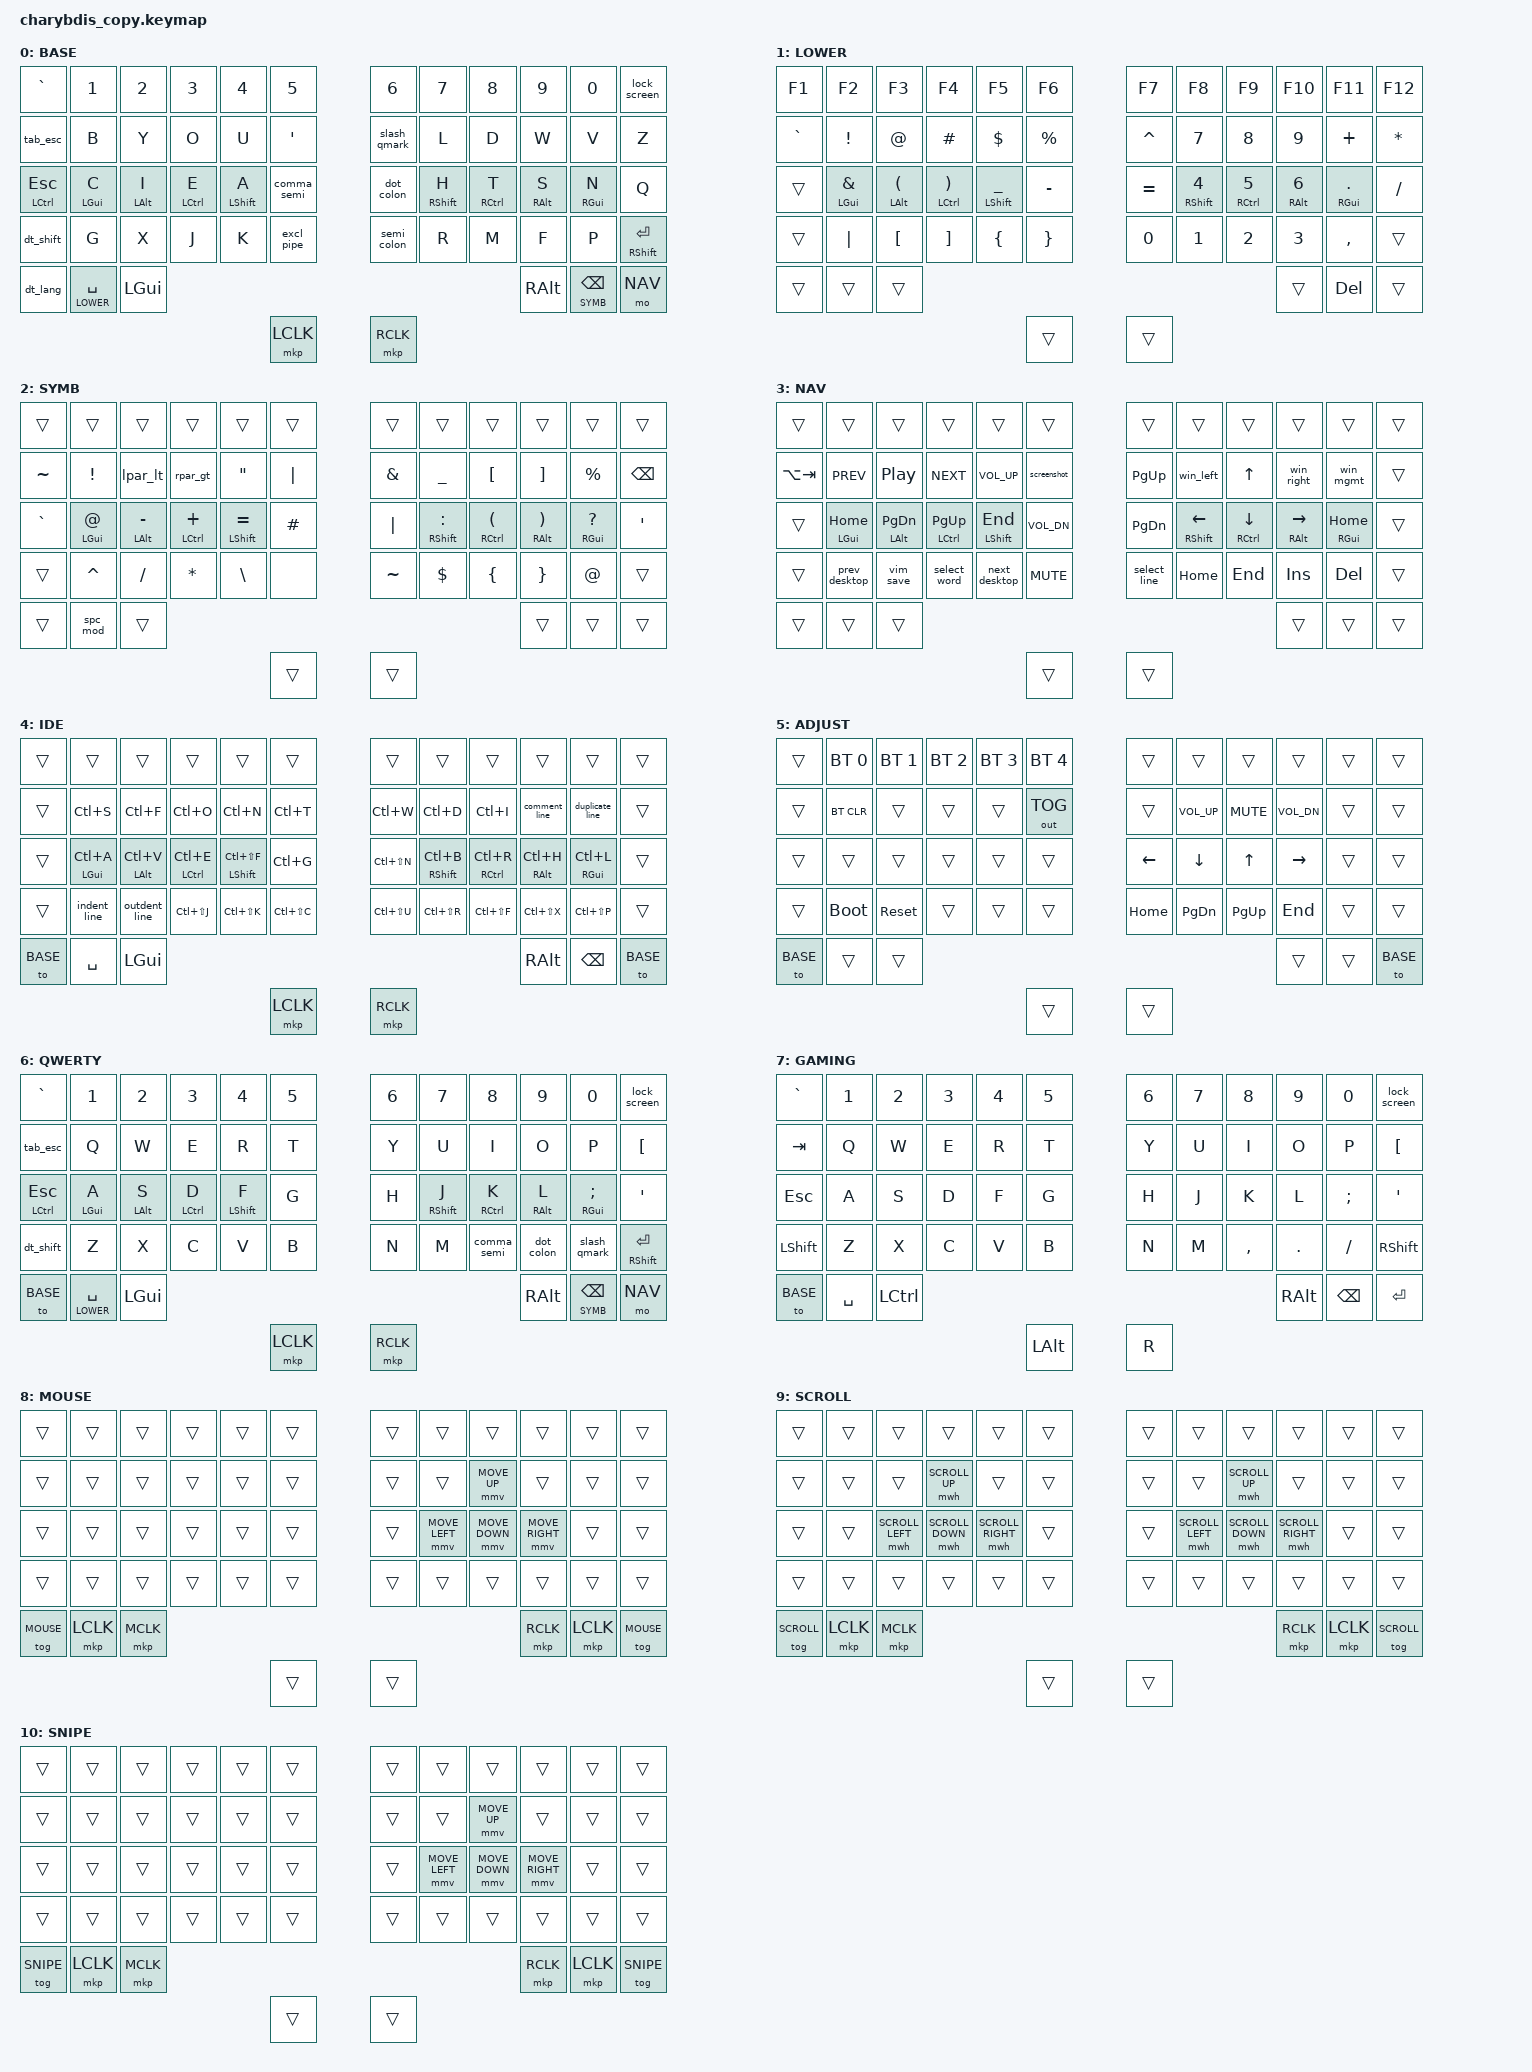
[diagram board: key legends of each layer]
/*
 * Улучшенный ZMK конфиг для Charybdis 4x6
 * С расширенной поддержкой трекбола и оптимизированными слоями
 * Copyright (c) 2023-2024 The ZMK Contributors
 * SPDX-License-Identifier: MIT
 */

#include <behaviors.dtsi>
#include <dt-bindings/zmk/keys.h>
#include <dt-bindings/zmk/bt.h>
#include <dt-bindings/zmk/outputs.h>
#include <dt-bindings/zmk/mouse.h>
#include <dt-bindings/zmk/ext_power.h>

/* Слои клавиатуры */
#define BASE 0      // Основной слой (Colemak-DH)
#define LOWER 1     // Цифры, F-клавиши и математика
#define SYMB 2      // Символы и специальные клавиши
#define NAV 3       // Навигация и мультимедиа
#define IDE 4       // Слой для IDE и программирования
#define ADJUST 5    // Настройки и системные функции
#define QWERTY 6    // QWERTY слой
#define GAMING 7    // Игровой слой
#define MOUSE 8     // Мышиный слой
#define SCROLL 9    // Слой прокрутки
#define SNIPE 10    // Слой точного наведения

/* Конфигурация трекбола */
&trackball_listener {
    compatible = "zmk,input-behavior-listener";
    device = &vtrackball;
    layers = <BASE LOWER SYMB NAV IDE QWERTY GAMING>;
    evt-type = <INPUT_EV_REL>;
    x-input-code = <INPUT_REL_X>;
    y-input-code = <INPUT_REL_Y>;
    scale-multiplier = <1>;
    scale-divisor = <1>;
};

/* Конфигурация точного режима трекбола */
&trackball_snipe_listener {
    compatible = "zmk,input-behavior-listener";
    device = &vtrackball;
    layers = <SNIPE>;
    evt-type = <INPUT_EV_REL>;
    x-input-code = <INPUT_REL_X>;
    y-input-code = <INPUT_REL_Y>;
    scale-multiplier = <1>;
    scale-divisor = <4>; // Снижение скорости для точного наведения
};

/* Конфигурация прокрутки трекболом */
&trackball_scroll_listener {
    compatible = "zmk,input-behavior-listener";
    device = &vtrackball;
    layers = <SCROLL>;
    evt-type = <INPUT_EV_REL>;
    x-input-code = <INPUT_REL_MISC>;
    y-input-code = <INPUT_REL_WHEEL>;
    y-invert;
    bindings = <&ib_wheel_scaler 1 14>;
};

/* Масштабирование скорости прокрутки */
&ib_wheel_scaler {
    compatible = "zmk,input-behavior-scaler";
    #binding-cells = <2>;
    evt-type = <INPUT_EV_REL>;
    input-code = <INPUT_REL_WHEEL>;
};

/* Переключение слоя трекбола с автоматическим отключением */
&ib_toggle_layer {
    compatible = "zmk,input-behavior-tog-layer";
    #binding-cells = <1>;
    time-to-live-ms = <750>; // Автоматически отключает слой через 750мс
};

/* Оптимизированные глобальные настройки */
&lt {
    tapping-term-ms = <200>; // Повышенное значение для удобства
    quick-tap-ms = <150>; // Оптимизировано для быстрого двойного нажатия
    flavor = "balanced";
    retro-tap; // Позволяет активировать удерживаемую клавишу при отпускании
};

&mt {
    tapping-term-ms = <200>;
    quick-tap-ms = <150>;
    flavor = "balanced";
    retro-tap;
};

&sk {
    release-after-ms = <1800>; // Увеличенное время для удобства использования
    quick-release;
};

&caps_word {
    continue-list = <UNDERSCORE MINUS BACKSPACE DELETE>;
};

/ {
    combos {
        compatible = "zmk,combos";
        
        /* Комбо для активации режима прокрутки */
        combo_scroll_mode {
            timeout-ms = <50>;
            key-positions = <41 42>; // Нижние кнопки правой стороны
            bindings = <&tog SCROLL>;
            layers = <BASE LOWER SYMB NAV IDE>;
        };
        
        /* Комбо для активации точного режима */
        combo_snipe_mode {
            timeout-ms = <50>;
            key-positions = <42 43>; // Нижние кнопки правой стороны
            bindings = <&mo SNIPE>;
            layers = <BASE LOWER SYMB NAV IDE>;
        };
        
        /* Быстрое переключение между режимами */
        combo_reset_mouse_modes {
            timeout-ms = <50>;
            key-positions = <40 43>; // Крайние нижние кнопки
            bindings = <&to BASE>;
            layers = <SCROLL SNIPE MOUSE>;
        };
        
        /* Основные комбо */
        combo_esc {
            timeout-ms = <40>;
            key-positions = <13 14>;
            bindings = <&kp ESC>;
            layers = <BASE QWERTY>;
        };
        
        combo_tab {
            timeout-ms = <40>;
            key-positions = <25 26>;
            bindings = <&kp TAB>;
            layers = <BASE QWERTY>;
        };
        
        combo_enter {
            timeout-ms = <40>;
            key-positions = <33 34>;
            bindings = <&kp ENTER>;
            layers = <BASE QWERTY>;
        };
        
        combo_del {
            timeout-ms = <40>;
            key-positions = <21 22>;
            bindings = <&kp DEL>;
            layers = <BASE QWERTY>;
        };
        
        /* Скобки */
        combo_lpar {
            timeout-ms = <40>;
            key-positions = <15 16>;
            bindings = <&kp LPAR>;
            layers = <BASE QWERTY>;
        };
        
        combo_rpar {
            timeout-ms = <40>;
            key-positions = <19 20>;
            bindings = <&kp RPAR>;
            layers = <BASE QWERTY>;
        };
        
        combo_lbkt {
            timeout-ms = <40>;
            key-positions = <3 4>;
            bindings = <&kp LBKT>;
            layers = <BASE QWERTY>;
        };
        
        combo_rbkt {
            timeout-ms = <40>;
            key-positions = <7 8>;
            bindings = <&kp RBKT>;
            layers = <BASE QWERTY>;
        };
        
        combo_lbrc {
            timeout-ms = <40>;
            key-positions = <27 28>;
            bindings = <&kp LBRC>;
            layers = <BASE QWERTY>;
        };
        
        combo_rbrc {
            timeout-ms = <40>;
            key-positions = <31 32>;
            bindings = <&kp RBRC>;
            layers = <BASE QWERTY>;
        };
        
        /* Специальные функции */
        combo_caps_word {
            timeout-ms = <40>;
            key-positions = <16 19>;
            bindings = <&caps_word>;
            layers = <BASE QWERTY>;
        };
        
        /* Редактирование */
        combo_cut {
            timeout-ms = <40>;
            key-positions = <26 27>;
            bindings = <&kp LC(X)>;
            layers = <BASE QWERTY>;
        };
        
        combo_copy {
            timeout-ms = <40>;
            key-positions = <27 28>;
            bindings = <&kp LC(C)>;
            layers = <BASE QWERTY>;
        };
        
        combo_paste {
            timeout-ms = <40>;
            key-positions = <28 29>;
            bindings = <&kp LC(V)>;
            layers = <BASE QWERTY>;
        };
        
        combo_undo {
            timeout-ms = <40>;
            key-positions = <25 27>;
            bindings = <&kp LC(Z)>;
            layers = <BASE QWERTY>;
        };
        
        combo_redo {
            timeout-ms = <40>;
            key-positions = <25 28>;
            bindings = <&kp LC(LS(Z))>;
            layers = <BASE QWERTY>;
        };
        
        /* Специальные слои */
        combo_mouse {
            timeout-ms = <50>;
            key-positions = <40 41>;
            bindings = <&tb_mode>;
            layers = <BASE>;
        };
        
        /* IDE функции */
        combo_ide {
            timeout-ms = <40>;
            key-positions = <14 15>;
            bindings = <&dt_ide>;
            layers = <BASE>;
        };
        
        combo_comment {
            timeout-ms = <40>;
            key-positions = <2 3>;
            bindings = <&comment_line>;
            layers = <BASE QWERTY IDE>;
        };
        
        combo_duplicate {
            timeout-ms = <40>;
            key-positions = <28 30>;
            bindings = <&duplicate_line>;
            layers = <BASE QWERTY IDE>;
        };
        
        /* Частые символы программирования */
        combo_arrow {
            timeout-ms = <40>;
            key-positions = <20 21>;
            bindings = <&arrow_macro>;
            layers = <BASE QWERTY>;
        };
        
        combo_fat_arrow {
            timeout-ms = <40>;
            key-positions = <32 33>;
            bindings = <&fat_arrow_macro>;
            layers = <BASE QWERTY>;
        };
        
        combo_triple_equals {
            timeout-ms = <40>;
            key-positions = <9 10>;
            bindings = <&triple_equals>;
            layers = <BASE QWERTY>;
        };
        
        combo_not_equals {
            timeout-ms = <40>;
            key-positions = <8 9>;
            bindings = <&not_equals>;
            layers = <BASE QWERTY>;
        };

        
        /* Специальные функции */
        combo_select_all {
            timeout-ms = <40>;
            key-positions = <1 2>;
            bindings = <&select_all>;
            layers = <BASE QWERTY>;
        };
        
        combo_select_line {
            timeout-ms = <40>;
            key-positions = <25 26 27>;
            bindings = <&select_line>;
            layers = <BASE QWERTY>;
        };
    };
    
    /* Условные слои */
    conditional_layers {
        compatible = "zmk,conditional-layers";
        tri_layer {
            if-layers = <LOWER SYMB>;
            then-layer = <ADJUST>;
        };
    };

    behaviors {
        /* Tap Dance для переключения режимов трекбола */
        tb_mode: trackball_mode {
            compatible = "zmk,behavior-tap-dance";
            #binding-cells = <0>;
            tapping-term-ms = <250>;
            bindings = <&tog MOUSE>, <&tog SCROLL>, <&tog SNIPE>;
        };

        /* Улучшенные home row mods с контекстно-зависимыми модификаторами */
        hml: homerow_mods_left {
            compatible = "zmk,behavior-hold-tap";
            #binding-cells = <2>;
            tapping-term-ms = <280>;
            quick-tap-ms = <175>;
            flavor = "balanced";
            bindings = <&kp>, <&kp>;
            hold-trigger-key-positions = <6 7 8 9 10 11 18 19 20 21 22 23 30 31 32 33 34 35 39 40 41 42 43>;
            hold-trigger-on-release;
            global-quick-tap; // Позволяет быстро набирать текст
        };

        hmr: homerow_mods_right {
            compatible = "zmk,behavior-hold-tap";
            #binding-cells = <2>;
            tapping-term-ms = <280>;
            quick-tap-ms = <175>;
            flavor = "balanced";
            bindings = <&kp>, <&kp>;
            hold-trigger-key-positions = <0 1 2 3 4 5 12 13 14 15 16 17 24 25 26 27 28 29 36 37 38>;
            hold-trigger-on-release;
            global-quick-tap;
        };
        
        /* Улучшенный Ctrl/Esc */
        mt_lctl_esc: mod_tap_ctrl_esc {
            compatible = "zmk,behavior-hold-tap";
            #binding-cells = <2>;
            tapping-term-ms = <200>;
            quick-tap-ms = <150>;
            flavor = "balanced";
            bindings = <&kp>, <&kp>;
            retro-tap;
        };

        /* Улучшенный Shift/Enter */
        mt_rsft_ent: mod_tap_shift_enter {
            compatible = "zmk,behavior-hold-tap";
            #binding-cells = <2>;
            tapping-term-ms = <200>;
            quick-tap-ms = <150>;
            flavor = "balanced";
            bindings = <&kp>, <&kp>;
            retro-tap;
        };

        /* Улучшенный Sticky Shift */
        ss: sticky_shift {
            compatible = "zmk,behavior-sticky-key";
            #binding-cells = <1>;
            bindings = <&kp>;
            release-after-ms = <1500>;
            quick-release;
            ignore-modifiers; // Игнорирует уже нажатые модификаторы
        };
        
        /* Интеллектуальный слой/клавиша */
        smart_layer: smart_layer {
            compatible = "zmk,behavior-hold-tap";
            #binding-cells = <2>;
            tapping-term-ms = <200>;
            quick-tap-ms = <150>;
            flavor = "balanced";
            bindings = <&mo>, <&kp>;
            retro-tap;
        };

        /* Интеллектуальный переключатель слоев */
        smart_to: smart_to_layer {
            compatible = "zmk,behavior-hold-tap";
            #binding-cells = <2>;
            tapping-term-ms = <200>;
            quick-tap-ms = <125>;
            flavor = "balanced";
            bindings = <&to>, <&to>;
        };

        /* Tap Dance для множественных функций */
        dt_lang: tap_dance_language {
            compatible = "zmk,behavior-tap-dance";
            #binding-cells = <0>;
            tapping-term-ms = <300>; // Увеличенное время для удобства использования
            bindings = <&lang_switch>, <&to QWERTY>, <&to GAMING>;
        };
        
        dt_shift: tap_dance_shift {
            compatible = "zmk,behavior-tap-dance";
            #binding-cells = <0>;
            tapping-term-ms = <250>; // Увеличенное время для удобства использования
            bindings = <&ss LSHFT>, <&caps_word>, <&kp CAPS>;
        };

        /* Быстрый доступ к IDE функциям */
        dt_ide: tap_dance_ide {
            compatible = "zmk,behavior-tap-dance";
            #binding-cells = <0>;
            tapping-term-ms = <250>;
            bindings = <&mo IDE>, <&tog IDE>;
        };

        /* Mod morphs для символов */
        comma_semi: comma_semicolon {
            compatible = "zmk,behavior-mod-morph";
            #binding-cells = <0>;
            bindings = <&kp COMMA>, <&kp SEMICOLON>;
            mods = <(MOD_LSFT|MOD_RSFT)>;
        };

        dot_colon: dot_colon {
            compatible = "zmk,behavior-mod-morph";
            #binding-cells = <0>;
            bindings = <&kp DOT>, <&kp COLON>;
            mods = <(MOD_LSFT|MOD_RSFT)>;
        };
        
        slash_qmark: slash_question {
            compatible = "zmk,behavior-mod-morph";
            #binding-cells = <0>;
            bindings = <&kp FSLH>, <&kp QMARK>;
            mods = <(MOD_LSFT|MOD_RSFT)>;
        };
        
        excl_pipe: exclamation_pipe {
            compatible = "zmk,behavior-mod-morph";
            #binding-cells = <0>;
            bindings = <&kp EXCL>, <&kp PIPE>;
            mods = <(MOD_LSFT|MOD_RSFT)>;
        };

        /* Mod morph для точки с запятой и двоеточия */
        semi_colon: semicolon_colon {
            compatible = "zmk,behavior-mod-morph";
            #binding-cells = <0>;
            bindings = <&kp SEMI>, <&kp COLON>;
            mods = <(MOD_LSFT|MOD_RSFT)>;
        };

        /* Mod morph для скобок */
        lpar_lt: left_paren_lt {
            compatible = "zmk,behavior-mod-morph";
            #binding-cells = <0>;
            bindings = <&kp LPAR>, <&kp LT>;
            mods = <(MOD_LALT|MOD_RALT)>;
        };

        rpar_gt: right_paren_gt {
            compatible = "zmk,behavior-mod-morph";
            #binding-cells = <0>;
            bindings = <&kp RPAR>, <&kp GT>;
            mods = <(MOD_LALT|MOD_RALT)>;
        };

        /* Адаптивное табулирование */
        tab_esc: tab_escape {
            compatible = "zmk,behavior-mod-morph";
            #binding-cells = <0>;
            bindings = <&kp TAB>, <&kp ESC>;
            mods = <(MOD_LCTL|MOD_RCTL)>;
        };

        /* Автоматический выход из редактирования */
        vim_exit: vim_exit_macro {
            compatible = "zmk,behavior-mod-morph";
            #binding-cells = <0>;
            bindings = <&vim_save>, <&vim_exit_insert>;
            mods = <(MOD_LSFT|MOD_RSFT)>;
        };

        /* Улучшенная работа с окнами */
        win_mgmt: window_management {
            compatible = "zmk,behavior-tap-dance";
            #binding-cells = <0>;
            tapping-term-ms = <250>;
            bindings = <&win_max>, <&win_full>, <&win_reset>;
        };
        
        /* Интеллектуальное переключение раскладки */
        smart_lang: smart_language {
            compatible = "zmk,behavior-tap-dance";
            #binding-cells = <0>;
            tapping-term-ms = <300>;
            bindings = <&lang_switch>, <&none>, <&to BASE>;
        };
        
        /* Контекстно-зависимое пространство */
        spc_mod: space_modifier {
            compatible = "zmk,behavior-mod-morph";
            #binding-cells = <0>;
            bindings = <&kp SPACE>, <&kp UNDER>;
            mods = <(MOD_LSFT|MOD_RSFT)>;
        };
        
        /* Быстрая смена между программными слоями */
        dev_cycle: developer_cycle {
            compatible = "zmk,behavior-tap-dance";
            #binding-cells = <0>;
            tapping-term-ms = <250>;
            bindings = <&mo IDE>, <&to IDE>, <&to BASE>;
        };
    };



    /* Макросы для различных функций */
    macros {
        /* Переключение языка */
        lang_switch: lang_switch {
            compatible = "zmk,behavior-macro";
            #binding-cells = <0>;
            wait-ms = <0>;
            tap-ms = <5>;
            bindings = <&macro_press &kp LGUI>,
                    <&macro_tap &kp SPACE>,
                    <&macro_release &kp LGUI>;
        };


        /* Блокировка экрана macOS/Windows */
        lock_screen: lock_screen {
            compatible = "zmk,behavior-macro";
            #binding-cells = <0>;
            wait-ms = <0>;
            tap-ms = <5>;
            bindings = <&macro_press &kp LGUI &kp LCTRL>,
                       <&macro_tap &kp Q>,
                       <&macro_release &kp LGUI &kp LCTRL>;
        };

        /* Навигация по рабочим столам */
        next_desktop: next_desktop {
            compatible = "zmk,behavior-macro";
            #binding-cells = <0>;
            wait-ms = <0>;
            tap-ms = <5>;
            bindings = <&macro_press &kp LCTRL>,
                       <&macro_tap &kp RIGHT>,
                       <&macro_release &kp LCTRL>;
        };

        prev_desktop: prev_desktop {
            compatible = "zmk,behavior-macro";
            #binding-cells = <0>;
            wait-ms = <0>;
            tap-ms = <5>;
            bindings = <&macro_press &kp LCTRL>,
                       <&macro_tap &kp LEFT>,
                       <&macro_release &kp LCTRL>;
        };

        /* Улучшенный оконный менеджмент */
        win_max: window_maximize {
            compatible = "zmk,behavior-macro";
            #binding-cells = <0>;
            wait-ms = <0>;
            tap-ms = <5>;
            bindings = <&macro_press &kp LGUI>,
                       <&macro_tap &kp UP>,
                       <&macro_release &kp LGUI>;
        };

        win_full: window_fullscreen {
            compatible = "zmk,behavior-macro";
            #binding-cells = <0>;
            wait-ms = <0>;
            tap-ms = <5>;
            bindings = <&macro_press &kp LCTRL &kp LGUI>,
                       <&macro_tap &kp F>,
                       <&macro_release &kp LCTRL &kp LGUI>;
        };

        win_reset: window_reset {
            compatible = "zmk,behavior-macro";
            #binding-cells = <0>;
            wait-ms = <0>;
            tap-ms = <5>;
            bindings = <&macro_press &kp LGUI>,
                       <&macro_tap &kp DOWN>,
                       <&macro_release &kp LGUI>;
        };

        win_left: window_left {
            compatible = "zmk,behavior-macro";
            #binding-cells = <0>;
            wait-ms = <0>;
            tap-ms = <5>;
            bindings = <&macro_press &kp LGUI>,
                       <&macro_tap &kp LEFT>,
                       <&macro_release &kp LGUI>;
        };

        win_right: window_right {
            compatible = "zmk,behavior-macro";
            #binding-cells = <0>;
            wait-ms = <0>;
            tap-ms = <5>;
            bindings = <&macro_press &kp LGUI>,
                       <&macro_tap &kp RIGHT>,
                       <&macro_release &kp LGUI>;
        };

        /* Улучшенные скриншоты */
        screenshot: screenshot {
            compatible = "zmk,behavior-macro";
            #binding-cells = <0>;
            wait-ms = <0>;
            tap-ms = <5>;
            bindings = <&macro_press &kp LGUI &kp LSHFT>,
                       <&macro_tap &kp S>,
                       <&macro_release &kp LGUI &kp LSHFT>;
        };

        screenshot_full: screenshot_full {
            compatible = "zmk,behavior-macro";
            #binding-cells = <0>;
            wait-ms = <0>;
            tap-ms = <5>;
            bindings = <&macro_press &kp LGUI &kp LSHFT>,
                       <&macro_tap &kp N3>,
                       <&macro_release &kp LGUI &kp LSHFT>;
        };

        /* Улучшенные действия выделения */
        select_word: select_word {
            compatible = "zmk,behavior-macro";
            #binding-cells = <0>;
            wait-ms = <0>;
            tap-ms = <5>;
            bindings = <&macro_press &kp LCTRL>,
                       <&macro_tap &kp RIGHT>,
                       <&macro_press &kp LSHFT>,
                       <&macro_tap &kp LEFT>,
                       <&macro_release &kp LCTRL &kp LSHFT>;
        };
        
        select_line: select_line {
            compatible = "zmk,behavior-macro";
            #binding-cells = <0>;
            wait-ms = <0>;
            tap-ms = <5>;
            bindings = <&macro_tap &kp HOME>,
                       <&macro_press &kp LSHFT>,
                       <&macro_tap &kp END>,
                       <&macro_release &kp LSHFT>;
        };

        select_all: select_all {
            compatible = "zmk,behavior-macro";
            #binding-cells = <0>;
            wait-ms = <0>;
            tap-ms = <5>;
            bindings = <&macro_press &kp LCTRL>,
                       <&macro_tap &kp A>,
                       <&macro_release &kp LCTRL>;
        };

        /* Расширенные символы программирования */
        arrow_macro: arrow_macro {
            compatible = "zmk,behavior-macro";
            #binding-cells = <0>;
            wait-ms = <0>;
            tap-ms = <5>;
            bindings = <&macro_tap &kp MINUS &kp GT>;
        };
        
        fat_arrow_macro: fat_arrow_macro {
            compatible = "zmk,behavior-macro";
            #binding-cells = <0>;
            wait-ms = <0>;
            tap-ms = <5>;
            bindings = <&macro_tap &kp EQUAL &kp GT>;
        };

        triple_equals: triple_equals {
            compatible = "zmk,behavior-macro";
            #binding-cells = <0>;
            wait-ms = <0>;
            tap-ms = <5>;
            bindings = <&macro_tap &kp EQUAL &kp EQUAL &kp EQUAL>;
        };

        not_equals: not_equals {
            compatible = "zmk,behavior-macro";
            #binding-cells = <0>;
            wait-ms = <0>;
            tap-ms = <5>;
            bindings = <&macro_tap &kp EXCL &kp EQUAL>;
        };

        not_equals_strict: not_equals_strict {
            compatible = "zmk,behavior-macro";
            #binding-cells = <0>;
            wait-ms = <0>;
            tap-ms = <5>;
            bindings = <&macro_tap &kp EXCL &kp EQUAL &kp EQUAL>;
        };
        
        /* Vim команды */
        vim_save: vim_save {
            compatible = "zmk,behavior-macro";
            #binding-cells = <0>;
            wait-ms = <0>;
            tap-ms = <5>;
            bindings = <&macro_tap &kp ESC>,
                       <&macro_tap &kp COLON>,
                       <&macro_tap &kp W>,
                       <&macro_tap &kp ENTER>;
        };

        vim_exit_insert: vim_exit_insert {
            compatible = "zmk,behavior-macro";
            #binding-cells = <0>;
            wait-ms = <0>;
            tap-ms = <5>;
            bindings = <&macro_tap &kp ESC>;
        };

        vim_save_quit: vim_save_quit {
            compatible = "zmk,behavior-macro";
            #binding-cells = <0>;
            wait-ms = <0>;
            tap-ms = <5>;
            bindings = <&macro_tap &kp ESC>,
                       <&macro_tap &kp COLON>,
                       <&macro_tap &kp W>,
                       <&macro_tap &kp Q>,
                       <&macro_tap &kp ENTER>;
        };

        /* Действия копирования/вставки */
        copy_line: copy_line {
            compatible = "zmk,behavior-macro";
            #binding-cells = <0>;
            wait-ms = <0>;
            tap-ms = <5>;
            bindings = <&macro_tap &kp HOME>,
                       <&macro_press &kp LSHFT>,
                       <&macro_tap &kp END>,
                       <&macro_release &kp LSHFT>,
                       <&macro_press &kp LCTRL>,
                       <&macro_tap &kp C>,
                       <&macro_release &kp LCTRL>;
        };

        duplicate_line: duplicate_line {
            compatible = "zmk,behavior-macro";
            #binding-cells = <0>;
            wait-ms = <0>;
            tap-ms = <5>;
            bindings = <&macro_tap &kp HOME>,
                       <&macro_press &kp LSHFT>,
                       <&macro_tap &kp END>,
                       <&macro_release &kp LSHFT>,
                       <&macro_press &kp LCTRL>,
                       <&macro_tap &kp C>,
                       <&macro_release &kp LCTRL>,
                       <&macro_tap &kp END>,
                       <&macro_tap &kp ENTER>,
                       <&macro_press &kp LCTRL>,
                       <&macro_tap &kp V>,
                       <&macro_release &kp LCTRL>;
        };

        /* Программирование */
        comment_line: comment_line {
            compatible = "zmk,behavior-macro";
            #binding-cells = <0>;
            wait-ms = <0>;
            tap-ms = <5>;
            bindings = <&macro_press &kp LCTRL>,
                       <&macro_tap &kp FSLH>,
                       <&macro_release &kp LCTRL>;
        };

        indent_line: indent_line {
            compatible = "zmk,behavior-macro";
            #binding-cells = <0>;
            wait-ms = <0>;
            tap-ms = <5>;
            bindings = <&macro_tap &kp TAB>;
        };

        outdent_line: outdent_line {
            compatible = "zmk,behavior-macro";
            #binding-cells = <0>;
            wait-ms = <0>;
            tap-ms = <5>;
            bindings = <&macro_press &kp LSHFT>,
                       <&macro_tap &kp TAB>,
                       <&macro_release &kp LSHFT>;
        };
    };

    /* Раскладки для разных слоев */
    keymap {
        compatible = "zmk,keymap";

        /* Основной слой (Colemak-DH) */
        BASE {
            bindings = <
&kp GRAVE              &kp N1                 &kp N2                 &kp N3                 &kp N4                 &kp N5                                                             &kp N6                 &kp N7                 &kp N8                 &kp N9                 &kp N0                 &lock_screen
&tab_esc               &kp B                  &kp Y                  &kp O                  &kp U                  &kp SQT                                                            &slash_qmark           &kp L                  &kp D                  &kp W                  &kp V                  &kp Z
&mt_lctl_esc LCTRL ESC &hml LGUI C            &hml LALT I            &hml LCTRL E           &hml LSHFT A           &comma_semi                                                        &dot_colon             &hmr RSHFT H           &hmr RCTRL T           &hmr RALT S            &hmr RGUI N            &kp Q
&dt_shift              &kp G                  &kp X                  &kp J                  &kp K                  &excl_pipe                                                         &semi_colon            &kp R                  &kp M                  &kp F                  &kp P                  &mt_rsft_ent RSHFT ENTER
                                                                     &dt_lang               &smart_layer LOWER SPACE &kp LGUI                                                         &kp RALT               &smart_layer SYMB BSPC &mo NAV
                                                                                            &mkp LCLK              &mkp RCLK
            >;
        };

        /* Цифры, F-клавиши и математика */
        LOWER {
            bindings = <
&kp F1             &kp F2             &kp F3             &kp F4             &kp F5             &kp F6                                                     &kp F7             &kp F8             &kp F9             &kp F10            &kp F11              &kp F12
&kp GRAVE          &kp EXCL           &kp AT             &kp HASH           &kp DLLR           &kp PRCNT                                                  &kp CARET          &kp N7             &kp N8             &kp N9             &kp PLUS             &kp STAR
&trans             &hml LGUI AMPS     &hml LALT LPAR     &hml LCTRL RPAR    &hml LSHFT UNDER   &kp MINUS                                                  &kp EQUAL          &hmr RSHFT N4      &hmr RCTRL N5      &hmr RALT N6       &hmr RGUI DOT        &kp FSLH
&trans             &kp PIPE           &kp LBKT           &kp RBKT           &kp LBRC           &kp RBRC                                                   &kp N0             &kp N1             &kp N2             &kp N3             &kp COMMA            &trans
                                                         &trans             &trans             &trans                                                     &trans             &kp DEL            &trans
                                                                            &trans             &trans
            >;
        };

        /* Символы и специальные клавиши */
        SYMB {
            bindings = <
&trans             &trans             &trans             &trans             &trans             &trans                                                     &trans             &trans             &trans             &trans             &trans               &trans
&kp TILDE          &kp EXCL           &lpar_lt           &rpar_gt           &kp DQT            &kp PIPE                                                   &kp AMPS           &kp UNDER          &kp LBKT           &kp RBKT           &kp PRCNT            &kp BSPC
&kp GRAVE          &hml LGUI AT       &hml LALT MINUS    &hml LCTRL PLUS    &hml LSHFT EQUAL   &kp HASH                                                   &kp PIPE           &hmr RSHFT COLON   &hmr RCTRL LPAR    &hmr RALT RPAR     &hmr RGUI QMARK      &kp SQT
&trans             &kp CARET          &kp FSLH           &kp STAR           &kp BSLH           &none                                                      &kp TILDE          &kp DLLR           &kp LBRC           &kp RBRC           &kp AT               &trans
                                                         &trans             &spc_mod           &trans                                                     &trans             &trans             &trans
                                                                            &trans             &trans
            >;
        };

        /* Навигация, мультимедиа и системные функции */
        NAV {
            bindings = <
&trans             &trans             &trans             &trans             &trans             &trans                                                     &trans             &trans             &trans             &trans             &trans               &trans
&kp LA(TAB)        &kp C_PREV         &kp C_PP           &kp C_NEXT         &kp C_VOL_UP       &screenshot                                                &kp PG_UP          &win_left          &kp UP             &win_right         &win_mgmt            &trans
&trans             &hml LGUI HOME     &hml LALT PG_DN    &hml LCTRL PG_UP   &hml LSHFT END     &kp C_VOL_DN                                               &kp PG_DN          &hmr RSHFT LEFT    &hmr RCTRL DOWN    &hmr RALT RIGHT    &hmr RGUI HOME       &trans
&trans             &prev_desktop      &vim_save          &select_word       &next_desktop      &kp C_MUTE                                                 &select_line       &kp HOME           &kp END            &kp INS            &kp DEL              &trans
                                                         &trans             &trans             &trans                                                     &trans             &trans             &trans
                                                                            &trans             &trans
            >;
        };

        /* Слой для IDE и программирования */
        IDE {
            bindings = <
&trans             &trans             &trans             &trans             &trans             &trans                                                     &trans             &trans             &trans             &trans             &trans               &trans
&trans             &kp LC(S)          &kp LC(F)          &kp LC(O)          &kp LC(N)          &kp LC(T)                                                  &kp LC(W)          &kp LC(D)          &kp LC(I)          &comment_line      &duplicate_line      &trans
&trans             &hml LGUI LC(A)    &hml LALT LC(V)    &hml LCTRL LC(E)   &hml LSHFT LC(LS(F)) &kp LC(G)                                                &kp LC(LS(N))      &hmr RSHFT LC(B)   &hmr RCTRL LC(R)   &hmr RALT LC(H)    &hmr RGUI LC(L)      &trans
&trans             &indent_line       &outdent_line      &kp LC(LS(J))      &kp LC(LS(K))      &kp LC(LS(C))                                              &kp LC(LS(U))      &kp LC(LS(R))      &kp LC(LS(F))      &kp LC(LS(X))      &kp LC(LS(P))        &trans
                                                         &to BASE           &kp SPACE          &kp LGUI                                                   &kp RALT           &kp BSPC           &to BASE
                                                                            &mkp LCLK          &mkp RCLK
            >;
        };

        /* Настройки, Bluetooth и отладка */
        ADJUST {
            bindings = <
&trans             &bt BT_SEL 0       &bt BT_SEL 1       &bt BT_SEL 2       &bt BT_SEL 3       &bt BT_SEL 4                                               &trans             &trans             &trans             &trans             &trans               &trans
&trans             &bt BT_CLR         &trans             &trans             &trans             &out OUT_TOG                                               &trans             &kp C_VOL_UP       &kp C_MUTE         &kp C_VOL_DN       &trans               &trans
&trans             &trans             &trans             &trans             &trans             &trans                                                     &kp LEFT           &kp DOWN           &kp UP             &kp RIGHT          &trans               &trans
&trans             &bootloader        &sys_reset         &trans             &trans             &trans                                                     &kp HOME           &kp PG_DN          &kp PG_UP          &kp END            &trans               &trans
                                                         &to BASE           &trans             &trans                                                     &trans             &trans             &to BASE
                                                                            &trans             &trans
            >;
        };

        /* QWERTY слой */
        QWERTY {
            bindings = <
&kp GRAVE          &kp N1             &kp N2             &kp N3             &kp N4             &kp N5                                                     &kp N6             &kp N7             &kp N8             &kp N9             &kp N0               &lock_screen
&tab_esc           &kp Q              &kp W              &kp E              &kp R              &kp T                                                      &kp Y              &kp U              &kp I              &kp O              &kp P                &kp LBKT
&mt_lctl_esc LCTRL ESC  &hml LGUI A   &hml LALT S        &hml LCTRL D       &hml LSHFT F       &kp G                                                      &kp H              &hmr RSHFT J       &hmr RCTRL K       &hmr RALT L        &hmr RGUI SEMI       &kp SQT
&dt_shift          &kp Z              &kp X              &kp C              &kp V              &kp B                                                      &kp N              &kp M              &comma_semi        &dot_colon         &slash_qmark         &mt_rsft_ent RSHFT ENTER
                                                         &to BASE           &smart_layer LOWER SPACE &kp LGUI                                              &kp RALT           &smart_layer SYMB BSPC &mo NAV
                                                                            &mkp LCLK          &mkp RCLK
            >;
        };

        /* Игровой слой (без home row mods) */
        GAMING {
            bindings = <
&kp GRAVE          &kp N1             &kp N2             &kp N3             &kp N4             &kp N5                                                     &kp N6             &kp N7             &kp N8             &kp N9             &kp N0               &lock_screen
&kp TAB            &kp Q              &kp W              &kp E              &kp R              &kp T                                                      &kp Y              &kp U              &kp I              &kp O              &kp P                &kp LBKT
&kp ESC            &kp A              &kp S              &kp D              &kp F              &kp G                                                      &kp H              &kp J              &kp K              &kp L              &kp SEMI             &kp SQT
&kp LSHFT          &kp Z              &kp X              &kp C              &kp V              &kp B                                                      &kp N              &kp M              &kp COMMA          &kp DOT            &kp SLASH            &kp RSHFT
                                                         &to BASE           &kp SPACE          &kp LCTRL                                                  &kp RALT           &kp BSPC           &kp ENTER
                                                                            &kp LALT           &kp R
            >;
        };

        /* Мышиный слой */
        MOUSE {
            bindings = <
&trans             &trans             &trans             &trans             &trans             &trans                                                     &trans             &trans             &trans             &trans             &trans               &trans
&trans             &trans             &trans             &trans             &trans             &trans                                                     &trans             &trans             &mmv MOVE_UP       &trans             &trans               &trans
&trans             &trans             &trans             &trans             &trans             &trans                                                     &trans             &mmv MOVE_LEFT     &mmv MOVE_DOWN     &mmv MOVE_RIGHT    &trans               &trans
&trans             &trans             &trans             &trans             &trans             &trans                                                     &trans             &trans             &trans             &trans             &trans               &trans
                                                         &tog MOUSE         &mkp LCLK          &mkp MCLK                                                  &mkp RCLK          &mkp LCLK          &tog MOUSE
                                                                            &trans             &trans
            >;
        };

        /* Слой прокрутки */
        SCROLL {
            bindings = <
&trans             &trans             &trans             &trans             &trans             &trans                                                     &trans             &trans             &trans             &trans             &trans               &trans
&trans             &trans             &trans             &mwh SCROLL_UP     &trans             &trans                                                     &trans             &trans             &mwh SCROLL_UP     &trans             &trans               &trans
&trans             &trans             &mwh SCROLL_LEFT   &mwh SCROLL_DOWN   &mwh SCROLL_RIGHT  &trans                                                     &trans             &mwh SCROLL_LEFT   &mwh SCROLL_DOWN   &mwh SCROLL_RIGHT  &trans               &trans
&trans             &trans             &trans             &trans             &trans             &trans                                                     &trans             &trans             &trans             &trans             &trans               &trans
                                                         &tog SCROLL        &mkp LCLK          &mkp MCLK                                                  &mkp RCLK          &mkp LCLK          &tog SCROLL
                                                                            &trans             &trans
            >;
        };

        /* Слой точного наведения (снайпер) */
        SNIPE {
            bindings = <
&trans             &trans             &trans             &trans             &trans             &trans                                                     &trans             &trans             &trans             &trans             &trans               &trans
&trans             &trans             &trans             &trans             &trans             &trans                                                     &trans             &trans             &mmv MOVE_UP       &trans             &trans               &trans
&trans             &trans             &trans             &trans             &trans             &trans                                                     &trans             &mmv MOVE_LEFT     &mmv MOVE_DOWN     &mmv MOVE_RIGHT    &trans               &trans
&trans             &trans             &trans             &trans             &trans             &trans                                                     &trans             &trans             &trans             &trans             &trans               &trans
                                                         &tog SNIPE         &mkp LCLK          &mkp MCLK                                                  &mkp RCLK          &mkp LCLK          &tog SNIPE
                                                                            &trans             &trans
            >;
        };
    };
}

